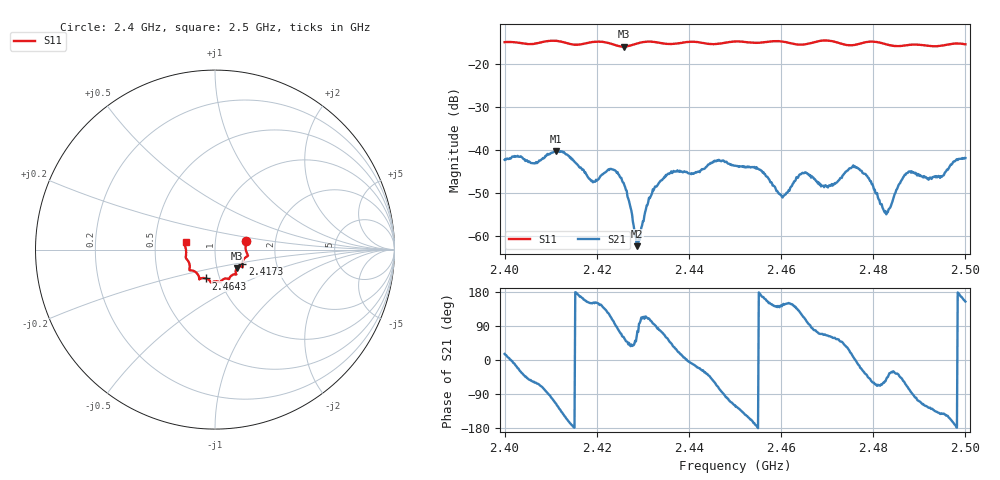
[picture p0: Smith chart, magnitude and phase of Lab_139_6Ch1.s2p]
# Hz S RI R 50
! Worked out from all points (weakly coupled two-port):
!   601 points, 2.4 GHz to 2.5 GHz, reference 50 ohm
!   highest |S21| = -40.18 dB at 2.4112 GHz (marker M1); lowest = -62.4 dB at 2.4287 GHz (marker M2)
!   lowest |S11| = -15.9 dB at 2.4258 GHz (marker M3), VSWR 1.38, Z = 62.3 - j13.2 ohm
!   |S11| at or under -10 dB: start of sweep to end of sweep
!   S12 and S22 are empty: the file has one direction only
!   S11 on the Smith chart (normalised r, x): 2.4 GHz: 1.41, +0.14; 2.4173 GHz: 1.34, -0.23; 2.4643 GHz: 0.86, -0.28; 2.5 GHz: 0.72, +0.06
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2.4e9  0.1732 0.0493  0.00741 0.00212  0 0  0 0
2.406667e9  0.1726 -0.00639  0.00355 -0.00606  0 0  0 0
2.411167e9  0.183 -0.0354  -0.00418 -0.00885  0 0  0 0
2.416667e9  0.1529 -0.0743  -0.00593 0.00154  0 0  0 0
2.417333e9  0.1521 -0.0817  -0.00512 0.002  0 0  0 0
2.4195e9  0.1538 -0.0964  -0.00371 0.00215  0 0  0 0
2.4235e9  0.1413 -0.0938  -0.00146 0.00576  0 0  0 0
2.425833e9  0.1216 -0.1036  0.00203 0.00362  0 0  0 0
2.428667e9  0.1155 -0.1289  0.000339 0.000683  0 0  0 0
2.433333e9  0.113 -0.137  0.000442 0.00399  0 0  0 0
2.446e9  0.048 -0.1644  0.0029 -0.00686  0 0  0 0
2.45e9  0.0294 -0.1807  -0.00323 -0.00575  0 0  0 0
2.455167e9  0.000362 -0.177  -0.00598 0.000167  0 0  0 0
2.460333e9  -0.0243 -0.1812  -0.0023 0.00161  0 0  0 0
2.464333e9  -0.05 -0.1605  -0.00279 0.00443  0 0  0 0
2.466667e9  -0.0759 -0.1596  0.000495 0.00493  0 0  0 0
2.470333e9  -0.0874 -0.1656  0.00176 0.00343  0 0  0 0
2.476167e9  -0.1183 -0.1191  0.00628 -7.64e-05  0 0  0 0
2.483333e9  -0.1408 -0.0898  0.00157 -0.00131  0 0  0 0
2.487333e9  -0.1569 -0.0542  0.00187 -0.00506  0 0  0 0
2.494833e9  -0.1635 0.00784  -0.00377 -0.00308  0 0  0 0
2.5e9  -0.1642 0.0422  -0.00728 0.00351  0 0  0 0
